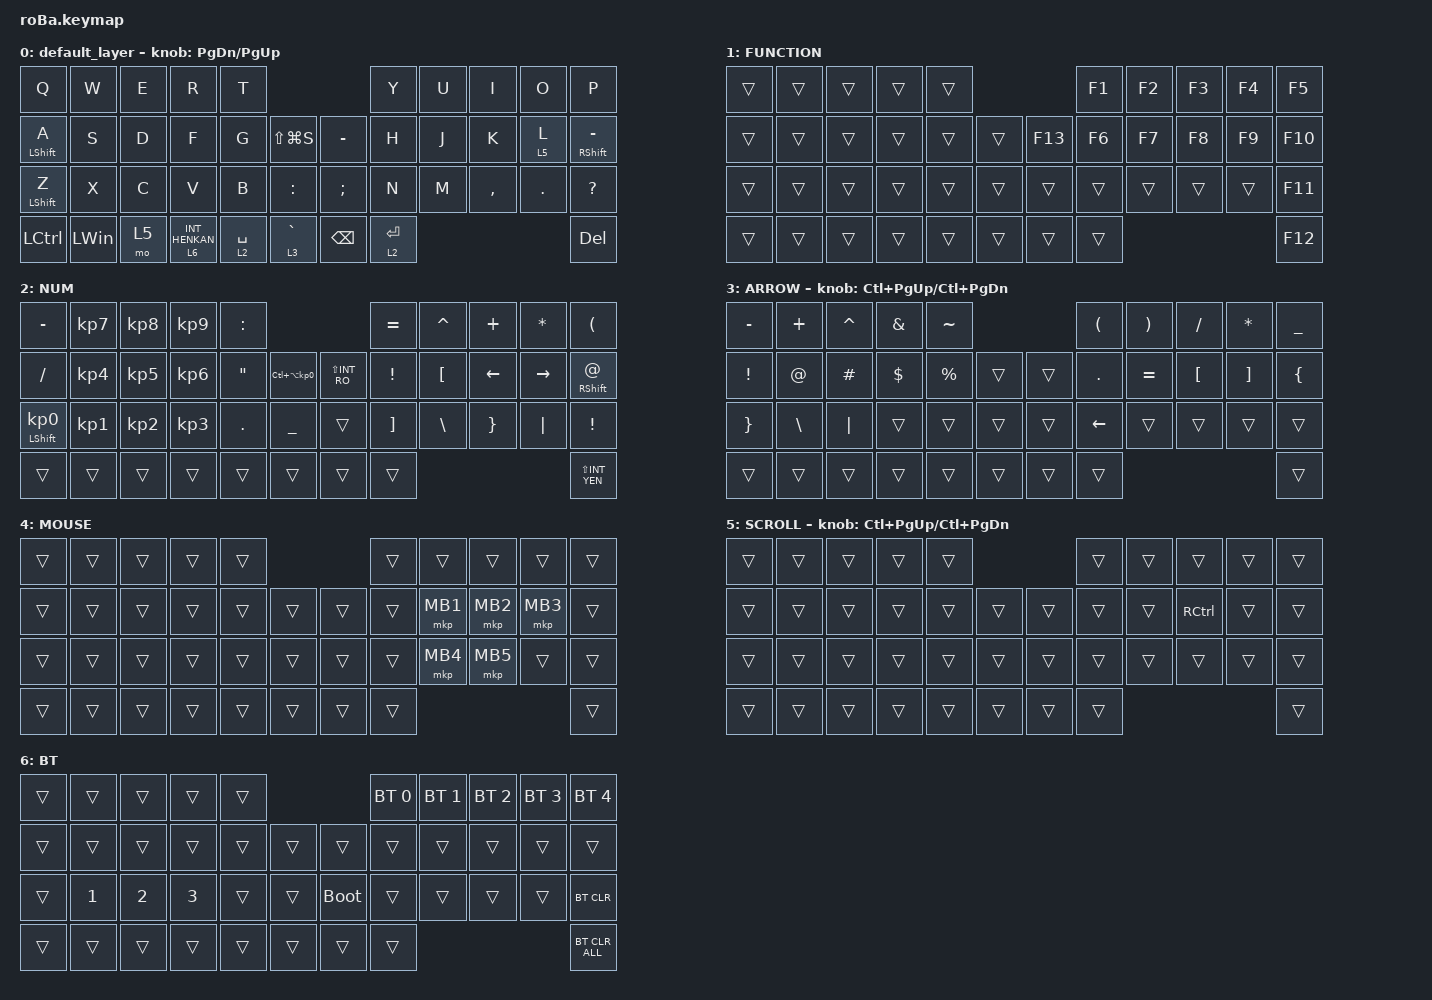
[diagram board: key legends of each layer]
#include <behaviors.dtsi>
#include <dt-bindings/zmk/bt.h>
#include <dt-bindings/zmk/keys.h>
#include <dt-bindings/zmk/pointing.h>

&mt {
    flavor = "balanced";
    quick-tap-ms = <0>;
};

&trackball {
    automouse-layer = <4>;
    scroll-layers = <5>;

    // arrows {
    //     layers = <3>;
    //     bindings =
    //         <&kp RIGHT_ARROW>,
    //         <&kp LEFT_ARROW>,
    //         <&kp UP_ARROW>,
    //         <&kp DOWN_ARROW>;

    //     tick = <10>;
    //     wait-ms = <5>;
    //     tap-ms = <5>;
    // };
};

/ {
    combos {
        compatible = "zmk,combos";

        tab {
            bindings = <&kp TAB>;
            key-positions = <11 12>;
        };

        shift_tab {
            bindings = <&kp LS(TAB)>;
            key-positions = <12 13>;
        };

        muhennkann {
            bindings = <&to_layer_0 INT_MUHENKAN>;
            key-positions = <11 10>;
        };

        double_quotation {
            bindings = <&kp AT_SIGN>;
            key-positions = <18 19>;
        };

        eq {
            bindings = <&kp UNDERSCORE>;
            key-positions = <24 25>;
        };
    };

    macros {
        to_layer_0: to_layer_0 {
            compatible = "zmk,behavior-macro-one-param";
            #binding-cells = <1>;
            bindings = <&to 0 &macro_param_1to1 &kp MACRO_PLACEHOLDER>;
            label = "TO_LAYER_0";
        };
    };

    keymap {
        compatible = "zmk,keymap";

        default_layer {
            bindings = <
&kp Q             &kp W         &kp E         &kp R                        &kp T                                                          &kp Y        &kp U  &kp I      &kp O    &kp P
&mt LEFT_SHIFT A             &kp S         &kp D         &kp F                        &kp G        &kp LS(LG(S))                      &kp MINUS      &kp H        &kp J  &kp K      &lt 5 L    &mt RIGHT_SHIFT MINUS
&mt LEFT_SHIFT Z  &kp X         &kp C         &kp V                        &kp B        &kp COLON                          &kp SEMICOLON  &kp N        &kp M  &kp COMMA  &kp DOT  &kp QMARK
&kp LCTRL         &kp LEFT_WIN  &mo 5         &lt 6 INT_HENKAN  &lt 2 SPACE  &lt 3 GRAVE      &kp BACKSPACE  &lt 2 ENTER                             &kp DEL
            >;

            sensor-bindings = <&inc_dec_kp PAGE_DOWN PG_UP>;
        };

        FUNCTION {
            bindings = <
&trans  &trans  &trans  &trans  &trans                       &kp F1  &kp F2  &kp F3  &kp F4  &kp F5
&trans  &trans  &trans  &trans  &trans  &trans      &kp F13  &kp F6  &kp F7  &kp F8  &kp F9  &kp F10
&trans  &trans  &trans  &trans  &trans  &trans      &trans   &trans  &trans  &trans  &trans  &kp F11
&trans  &trans  &trans  &trans  &trans  &trans      &trans   &trans                          &kp F12
            >;
        };

        NUM {
            bindings = <
&kp MINUS                   &kp KP_NUMBER_7  &kp KP_NUMBER_8  &kp KP_NUMBER_9  &kp COLON                                                   &kp EQUAL       &kp CARET        &kp PLUS           &kp ASTERISK       &kp LEFT_PARENTHESIS
&kp SLASH                   &kp KP_NUMBER_4  &kp KP_NUMBER_5  &kp KP_NUMBER_6  &kp DOUBLE_QUOTES  &kp LC(LA(KP_NUMBER_0))      &kp LS(INT_RO)  &kp EXCLAMATION  &kp LEFT_BRACKET  &kp LEFT_ARROW        &kp RIGHT_ARROW            &mt RIGHT_SHIFT AT
&mt LEFT_SHIFT KP_NUMBER_0  &kp KP_NUMBER_1  &kp KP_NUMBER_2  &kp KP_NUMBER_3  &kp PERIOD   &kp UNDERSCORE               &trans          &kp RIGHT_BRACKET  &kp BACKSLASH     &kp RIGHT_BRACE  &kp PIPE              &kp EXCL
&trans                      &trans           &trans           &trans           &trans       &trans                       &trans          &trans                                                                     &kp LS(INT_YEN)
            >;
        };

        ARROW {
            bindings = <
&kp MINUS       &kp PLUS                &kp CARET       &kp AMPERSAND            &kp TILDE                    &kp LEFT_PARENTHESIS  &kp RIGHT_PARENTHESIS  &kp SLASH          &kp ASTERISK     &kp UNDERSCORE
&kp EXCLAMATION &kp AT_SIGN             &kp HASH        &kp DOLLAR               &kp PERCENT  &trans      &trans  &kp PERIOD            &kp EQUAL              &kp LEFT_BRACKET  &kp RIGHT_BRACKET  &kp LEFT_BRACE
&kp RIGHT_BRACE &kp BACKSLASH           &kp PIPE        &trans                   &trans       &trans      &trans  &kp LEFT_ARROW              &trans                 &trans            &trans             &trans
&trans          &trans                  &trans          &trans                   &trans   &trans      &trans  &trans                          &trans
            >;

            sensor-bindings = <&inc_dec_kp LC(PAGE_UP) LC(PAGE_DOWN)>;
        };

        MOUSE {
            bindings = <
&trans  &trans  &trans  &trans  &trans                      &trans  &trans    &trans    &trans    &trans
&trans  &trans  &trans  &trans  &trans  &trans      &trans  &trans  &mkp MB1  &mkp MB2  &mkp MB3  &trans
&trans  &trans  &trans  &trans  &trans  &trans      &trans  &trans  &mkp MB4    &mkp MB5    &trans    &trans
&trans  &trans  &trans  &trans  &trans  &trans      &trans  &trans                                &trans
            >;
        };

        SCROLL {
            bindings = <
&trans  &trans  &trans  &trans  &trans                      &trans  &trans  &trans  &trans  &trans
&trans  &trans  &trans  &trans  &trans  &trans      &trans  &trans  &trans  &kp RIGHT_CONTROL  &trans  &trans
&trans  &trans  &trans  &trans  &trans  &trans      &trans  &trans  &trans  &trans  &trans  &trans
&trans  &trans  &trans  &trans  &trans  &trans      &trans  &trans                          &trans
            >;
      sensor-bindings = <&inc_dec_kp LC(PAGE_UP) LC(PAGE_DOWN)>;
        };

        BT {
            bindings = <
&trans  &trans        &trans        &trans        &trans                           &bt BT_SEL 0  &bt BT_SEL 1  &bt BT_SEL 2  &bt BT_SEL 3  &bt BT_SEL 4
&trans  &trans        &trans        &trans        &trans  &trans      &trans       &trans        &trans        &trans        &trans        &trans
&trans  &kp NUMBER_1  &kp NUMBER_2  &kp NUMBER_3  &trans  &trans      &bootloader  &trans        &trans        &trans        &trans        &bt BT_CLR
&trans  &trans        &trans        &trans        &trans  &trans      &trans       &trans                                                  &bt BT_CLR_ALL
            >;
        };
    };
};
